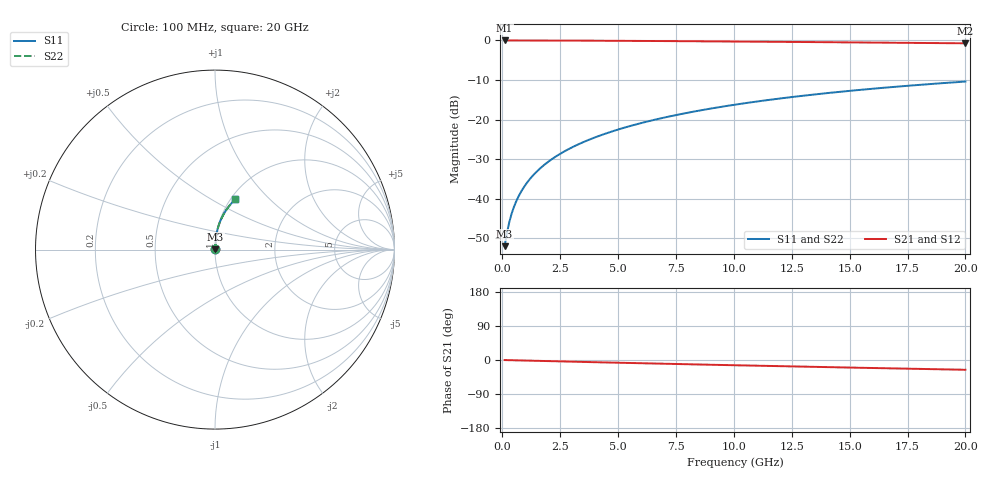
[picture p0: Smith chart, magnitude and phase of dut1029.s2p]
! Touchstone file exported from HFSS 2024.1.0
!  File:  C:/UserFiles/LocalFiles/RDL_TSV_Batchsim/temp_RDL_top_1029_1780043526.aedt
!  Generated:  04:35:07 PM May 29, 2026
!  Design:  RDL_top
!  Project:  temp_RDL_top_1029_1780043526
!  Setup:  Setup1
!  Solution:  Sweep
! Variables:
!  dtsv = 10.80580581um
!  hbump = 3um
!  htsv = 78.4um
!  ldown = 100um
!  lrdl = 296.53um
!  p = 40
!  p1 = 56.56um
!  rhole = 1um
!  t = 450um
!  tdown = 3.915915916um
!  trdl = 3.19um
!  wdown = 15.38538539um
!  wrdl = 18.48um
# GHz S MA R 50.000000
! Terminal data exported
! Port[1] = Box2_T1
! Port[2] = Box2_T2
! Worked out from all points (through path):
!   200 points, 100 MHz to 20 GHz, reference 50 ohm
!   highest |S21| = -0.02 dB at 100 MHz (marker M1); lowest = -0.7 dB at 20 GHz (marker M2)
!   group delay of S21, straight-line fit = 3.56 ps
!   lowest |S11| = -52.0 dB at 100 MHz (marker M3), VSWR 1.01, Z = 50.2 + j0.156 ohm
!   |S11| at or under -10 dB: start of sweep to end of sweep
!   |S22| runs from -52.0 to -10.4 dB; largest |S21 - S12| = 3.9e-15
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0.1  0.002524 38.0  0.998 -0.2  0.998 -0.2  0.002524 38.0
! Gamma 0 0 0 0
! Port Impedance 50 0 50 0
0.2  0.0037 56.5  0.9979 -0.3  0.9979 -0.3  0.0037 56.5
0.3  0.00505 65.3  0.9979 -0.5  0.9979 -0.5  0.00505 65.3
0.4  0.006447 70.2  0.9978 -0.6  0.9978 -0.6  0.006447 70.2
0.5  0.007858 73.4  0.9977 -0.7  0.9977 -0.7  0.007859 73.4
0.6  0.009277 75.7  0.9976 -0.9  0.9976 -0.9  0.009277 75.7
0.8  0.01213 78.6  0.9974 -1.2  0.9974 -1.2  0.01213 78.6
1.1  0.01645 81.2  0.9971 -1.6  0.9971 -1.6  0.01645 81.2
1.5  0.02226 83.1  0.9966 -2.2  0.9966 -2.2  0.02226 83.1
1.8  0.02665 83.9  0.9962 -2.6  0.9962 -2.6  0.02665 83.9
2.1  0.03106 84.4  0.9957 -3.1  0.9957 -3.1  0.03106 84.4
2.7  0.03996 85.0  0.9945 -4.0  0.9945 -4.0  0.03996 85.0
3.5  0.05198 85.2  0.9926 -5.1  0.9926 -5.1  0.05198 85.2
4.2  0.06262 85.1  0.9906 -6.1  0.9906 -6.1  0.06262 85.1
5  0.07492 84.8  0.988 -7.2  0.988 -7.2  0.07492 84.8
5.9  0.08891 84.2  0.9848 -8.4  0.9848 -8.4  0.08891 84.2
6.8  0.103 83.5  0.9814 -9.6  0.9814 -9.6  0.103 83.5
8.4  0.1283 81.9  0.9748 -11.8  0.9748 -11.8  0.1283 81.9
10.1  0.1551 80.0  0.9674 -13.9  0.9674 -13.9  0.1551 80.0
13.4  0.2064 76.0  0.952 -18.0  0.952 -18.0  0.2064 76.0
16.7  0.2556 72.0  0.9357 -22.0  0.9357 -22.0  0.2557 72.0
20  0.3022 68.0  0.9184 -25.8  0.9184 -25.8  0.3022 68.0
